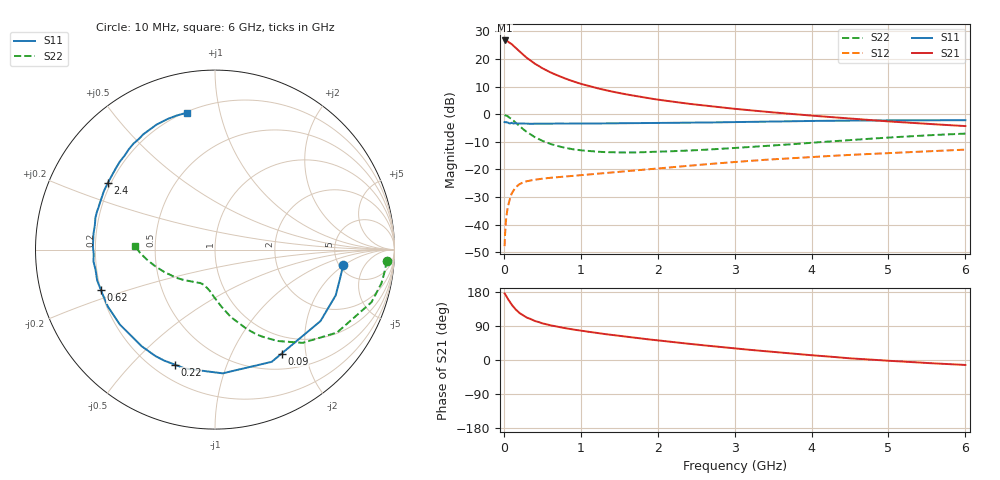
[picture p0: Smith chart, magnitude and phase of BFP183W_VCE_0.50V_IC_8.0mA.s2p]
! Infineon Technologies  Discrete & RF Semiconductors
! BFP183W
! VCE = 0.50V,  IC =  8.0 mA
! Common Emitter S-Parameters:  Jan 2016
# GHz  S  MA  R  50
!  f  S11  S21  S12  S22
! GHz  MAG  ANG  MAG  ANG  MAG  ANG  MAG  ANG
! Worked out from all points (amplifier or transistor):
!   210 points, 10 MHz to 6 GHz, reference 50 ohm
!   highest |S21| = 26.7 dB at 10 MHz (marker M1)
!   |S21| within 3 dB of that: start of sweep to 167.2 MHz
!   unconditionally stable (mu >= 1): 1.148 GHz to end of sweep
!   at 185 MHz: K = 0.23, MSG = 24.5 dB, |S12| = -25.7 dB
!   at 1.52 GHz: K = 1.17, MAG = 11.7 dB, |S12| = -20.8 dB
!   at 6 GHz: K = 1.20, MAG = 1.6 dB, |S12| = -12.8 dB
!   S11 on the Smith chart (normalised r, x): 10 MHz: 5.39, -1.96; 90 MHz: 0.72, -1.58; 220 MHz: 0.28, -0.67; 620 MHz: 0.20, -0.17; 2.4 GHz: 0.19, +0.28; 6 GHz: 0.21, +0.79
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0.01  0.7191 -7.0  21.59 175.6  0.0041 88.4  0.9601 -3.7
0.03  0.7191 -20.8  21.49 169.1  0.0128 80.1  0.9463 -11.4
0.05  0.71 -34.1  20.85 161.7  0.0203 73.3  0.9198 -18.6
0.09  0.688 -57.4  18.96 149.6  0.0329 61.9  0.8362 -30.8
0.1  0.7006 -63.2  18.64 146.3  0.0362 60.3  0.8219 -34.2
0.15  0.6907 -86.5  16.12 133.8  0.047 50.6  0.7137 -46.7
0.2  0.6833 -104.1  13.82 124.5  0.0538 43.6  0.6162 -55.7
0.22  0.6788 -109.3  13.06 121.9  0.0556 41.6  0.5837 -58.4
0.26  0.6797 -119.2  11.67 116.4  0.059 38.2  0.5248 -64.0
0.3  0.6759 -127.3  10.42 111.7  0.0614 35.7  0.4749 -68.3
0.4  0.6748 -141.7  8.257 103.2  0.0653 31.7  0.3868 -76.7
0.5  0.6761 -152.0  6.801 96.8  0.0685 30.1  0.3301 -82.5
0.62  0.6743 -160.4  5.604 91.1  0.071 28.9  0.2857 -87.9
0.8  0.6749 -170.3  4.398 83.9  0.0748 29.2  0.2455 -94.5
1.02  0.6769 -178.5  3.487 76.9  0.0794 30.4  0.221 -100.6
1.4  0.6822 170.3  2.581 66.3  0.0883 32.6  0.2055 -108.7
2.02  0.6937 155.8  1.822 51.4  0.1054 35.7  0.2096 -119.4
2.4  0.7035 148.2  1.547 42.8  0.117 36.1  0.2201 -126.3
3.1  0.7238 135.7  1.215 28.8  0.1398 35.3  0.2498 -138.6
4.1  0.7581 120.4  0.921 11.1  0.1714 31.6  0.3116 -157.0
5.1  0.7744 109.2  0.726 -3.1  0.2009 26.6  0.3855 -172.1
6  0.7787 101.6  0.61 -13.1  0.2286 22.1  0.4459 177.7
